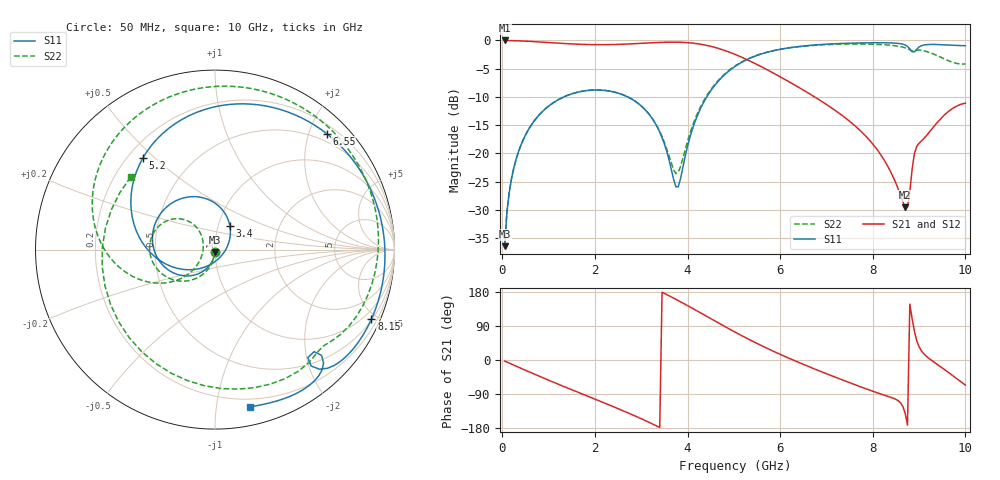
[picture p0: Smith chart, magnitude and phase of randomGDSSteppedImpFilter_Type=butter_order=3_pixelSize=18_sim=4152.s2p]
! freq	dB(S11)	phase(S11)	dB(S12)	phase(S12)
!  dB(S21)	phase(S21)	dB(S22)	phase(S22)
!S-par simulation data
#  GHz  S  DB  R 50
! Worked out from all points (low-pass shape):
!   200 points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, 50 MHz to 10 GHz, reference 50 ohm
!   highest |S21| = 0.00 dB at 50 MHz (marker M1); lowest = -29.6 dB at 8.7 GHz (marker M2)
!   |S21| within 3 dB of the highest: start of sweep to 5.177 GHz
!   lowest |S11| = -36.4 dB at 50 MHz (marker M3), VSWR 1.03, Z = 49.9 - j1.5 ohm
!   |S11| at or under -10 dB: start of sweep to 1.329 GHz; 2.708 GHz to 4.416 GHz (1.707 GHz wide, 47.9 % of centre)
!   |S22| runs from -36.4 to -0.6 dB; largest |S21 - S12| = 0
!   S11 on the Smith chart (normalised r, x): 50 MHz: 1.00, -0.03; 3.4 GHz: 1.14, +0.30; 5.2 GHz: 0.26, +0.46; 6.55 GHz: 0.35, +2.30; 8.15 GHz: 0.55, -4.66; 10 GHz: 0.14, -1.24
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0.05  -36.43 -92.9  -0.00 -2.8  -0.00 -2.8  -36.42 -92.3
0.2  -24.44 -102.3  -0.03 -10.9  -0.03 -10.9  -24.43 -100.0
0.5  -16.77 -120.5  -0.13 -27.1  -0.13 -27.1  -16.76 -114.8
1.1  -11.04 -155.4  -0.43 -58.4  -0.43 -58.4  -11.03 -142.6
1.75  -8.96 167.8  -0.70 -90.9  -0.70 -90.9  -8.95 -170.6
2.6  -9.61 118.0  -0.67 -133.5  -0.67 -133.5  -9.60 154.5
3.4  -16.24 57.4  -0.35 -178.1  -0.35 -178.1  -16.10 129.7
3.8  -25.89 -55.1  -0.31 156.8  -0.31 156.8  -23.35 -173.2
4.3  -11.73 -158.5  -0.69 123.1  -0.69 123.1  -11.44 -140.9
5.05  -4.47 139.0  -2.55 72.0  -2.55 72.0  -4.39 -178.2
5.2  -3.74 128.1  -3.09 62.3  -3.09 62.3  -3.68 173.7
5.85  -1.83 85.2  -5.77 23.3  -5.77 23.3  -1.82 139.3
6.55  -0.94 46.1  -9.03 -14.0  -9.03 -14.0  -0.99 103.9
6.7  -0.83 38.6  -9.78 -21.5  -9.78 -21.5  -0.90 96.3
7.45  -0.50 4.2  -13.99 -57.6  -13.99 -57.6  -0.64 56.7
8.15  -0.41 -23.9  -19.97 -88.7  -19.97 -88.7  -0.72 13.7
8.35  -0.43 -31.7  -22.69 -96.8  -22.69 -96.8  -0.83 -0.6
8.7  -0.81 -46.5  -29.58 -140.7  -29.58 -140.7  -1.31 -29.6
8.95  -1.55 -44.8  -18.76 50.8  -18.76 50.8  -1.74 -49.9
9.35  -0.71 -59.8  -14.95 -7.8  -14.95 -7.8  -2.54 -101.7
9.7  -0.84 -70.1  -12.17 -38.8  -12.17 -38.8  -3.80 -161.9
10  -0.93 -77.6  -11.10 -66.3  -11.10 -66.3  -4.16 139.4
